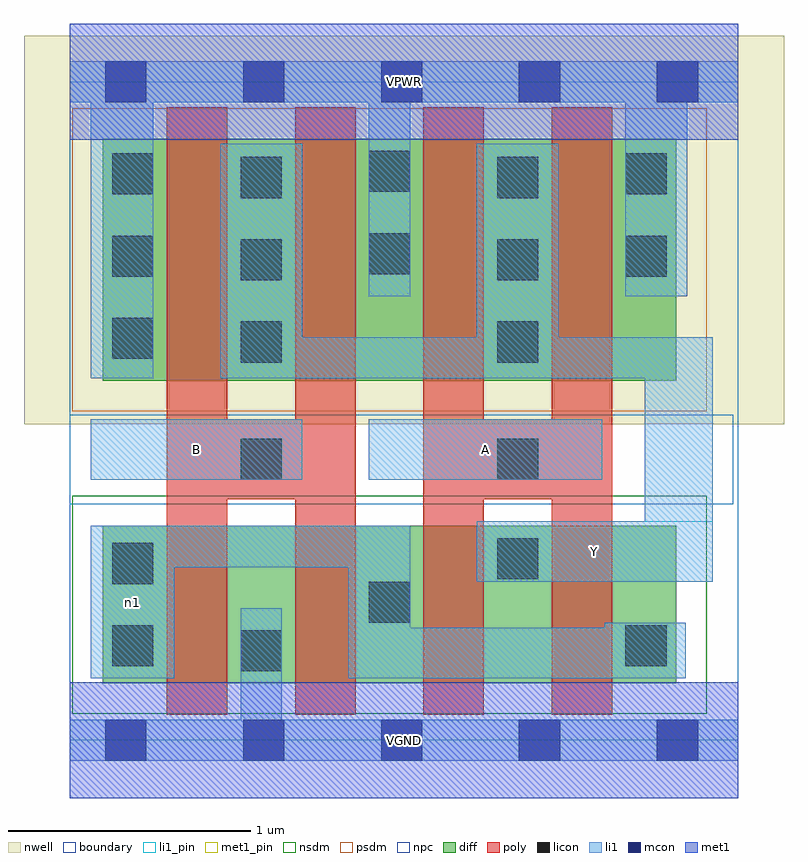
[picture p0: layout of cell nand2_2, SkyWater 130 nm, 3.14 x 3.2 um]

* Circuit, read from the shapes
.subckt nand2_2 A B VGND VPWR Y n1
XM1 VGND B n1 VSUBS sky130_fd_pr__nfet_01v8 w=0.65 l=0.25 m=2
XM2 Y A n1 VSUBS sky130_fd_pr__nfet_01v8 w=0.65 l=0.25 m=2
XM3 Y B VPWR n2 sky130_fd_pr__pfet_01v8 w=1 l=0.25 m=2
XM4 Y A VPWR n2 sky130_fd_pr__pfet_01v8 w=1 l=0.25 m=2
.ends

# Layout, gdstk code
import gdstk
lib = gdstk.Library(unit=1e-6, precision=1e-09)
def R(c, l, rs):  # rectangles x0, y0, x1, y1
    for r in rs: c.add(gdstk.rectangle(r[:2], r[2:], *l))
def A(c, l, x, y, w, h, nx, ny, dx, dy):  # array of equal rectangles
    R(c, l, [(x+i*dx, y+j*dy, x+i*dx+w, y+j*dy+h) for i in range(nx) for j in range(ny)])
nwell = (64, 20)
diff = (65, 20)
poly = (66, 20)
licon = (66, 44)
li1_pin = (67, 16)
li1 = (67, 20)
mcon = (67, 44)
met1_pin = (68, 16)
met1 = (68, 20)
nsdm = (93, 44)
psdm = (94, 20)
npc = (95, 20)
boundary = (235, 4)

nand2_2 = lib.new_cell('nand2_2')
R(nand2_2, nwell, [(-0.19,1.305,2.95,2.91), (0,1.305,2.76,2.91)])
R(nand2_2, diff, [(0.135,0.235,2.505,0.885), (0.135,1.485,2.505,2.485)])
A(nand2_2, poly, 0.4, 0.105, 0.25, 2.51, 4, 1, 0.53, 0)
R(nand2_2, poly, [(0.4,0.995,1.18,1.325), (1.46,0.995,2.24,1.325)])
A(nand2_2, licon, 0.705, 1.56, 0.17, 0.17, 1, 3, 0, 0.34)
A(nand2_2, licon, 1.765, 1.56, 0.17, 0.17, 1, 3, 0, 0.34)
A(nand2_2, licon, 0.175, 1.575, 0.17, 0.17, 1, 3, 0, 0.34)
R(nand2_2, licon, [(0.705,0.285,0.875,0.455), (0.175,0.305,0.345,0.475), (2.295,0.305,2.465,0.475), (1.235,0.485,1.405,0.655), (0.175,0.645,0.345,0.815), (1.765,0.665,1.935,0.835), (0.705,1.075,0.875,1.245), (1.765,1.075,1.935,1.245), (2.295,1.915,2.465,2.085), (1.235,1.925,1.405,2.095), (2.295,2.255,2.465,2.425), (1.235,2.265,1.405,2.435)])
R(nand2_2, li1_pin, [(1.68,0.655,2.655,0.905), (0.085,1.075,0.96,1.325), (1.235,1.075,2.2,1.325)])
R(nand2_2, li1, [(0,-0.085,2.76,0.085), (0.705,-0.085,0.875,0.545), (0.085,0.255,0.43,0.885), (1.15,0.255,2.545,0.465), (1.15,0.255,1.405,0.885), (2.21,0.255,2.545,0.485), (1.68,0.655,2.655,0.905), (2.375,0.655,2.655,1.665), (0.085,0.715,1.405,0.885), (0.085,1.075,0.96,1.325), (1.235,1.075,2.2,1.325), (0.085,1.495,0.345,2.805), (0.62,1.495,0.96,2.465), (0.62,1.495,2.655,1.665), (1.68,1.495,2.02,2.465), (1.235,1.835,1.405,2.805), (2.295,1.835,2.55,2.805), (0,2.635,2.76,2.805)])
A(nand2_2, mcon, 0.145, -0.085, 0.17, 0.17, 5, 2, 0.57, 2.72)
R(nand2_2, met1_pin, [(0,-0.24,2.76,0.24), (0,2.48,2.76,2.96)])
R(nand2_2, met1, [(0,-0.24,2.76,0.24), (0,2.48,2.76,2.96)])
R(nand2_2, nsdm, [(0.01,0.11,2.63,1.01)])
R(nand2_2, psdm, [(0.01,1.36,2.63,2.61)])
R(nand2_2, npc, [(0,0.975,2.74,1.345)])
R(nand2_2, boundary, [(0,0,2.76,2.72)])
nand2_2.add(gdstk.Label('A', (1.717,1.2), layer=67, texttype=5))
nand2_2.add(gdstk.Label('B', (0.522,1.2), layer=67, texttype=5))
nand2_2.add(gdstk.Label('Y', (2.167,0.78), layer=67, texttype=5))
nand2_2.add(gdstk.Label('n1', (0.257,0.57), layer=67, texttype=5))
nand2_2.add(gdstk.Label('VPWR', (1.38,2.72), layer=68, texttype=5))
nand2_2.add(gdstk.Label('VGND', (1.38,0), layer=68, texttype=5))
nand2_2.add(gdstk.Label('A', (1.717,1.2), layer=67, texttype=16))
nand2_2.add(gdstk.Label('B', (0.522,1.2), layer=67, texttype=16))
nand2_2.add(gdstk.Label('Y', (2.167,0.78), layer=67, texttype=16))
nand2_2.add(gdstk.Label('VPWR', (1.38,2.72), layer=68, texttype=16))
nand2_2.add(gdstk.Label('VGND', (1.38,0), layer=68, texttype=16))

lib.write_gds('nand2_2.gds')
